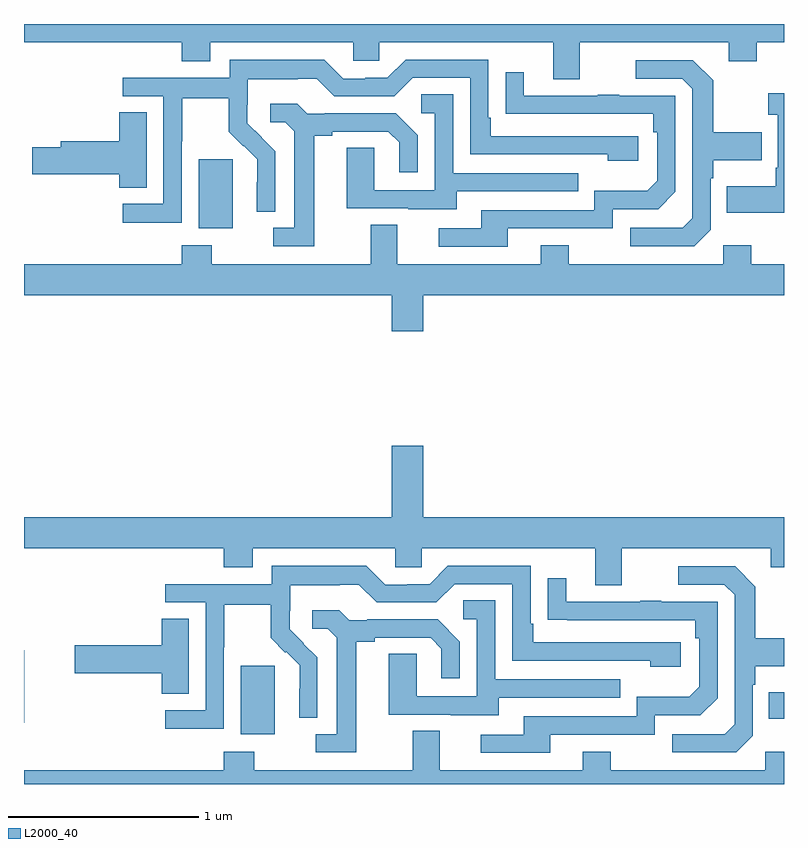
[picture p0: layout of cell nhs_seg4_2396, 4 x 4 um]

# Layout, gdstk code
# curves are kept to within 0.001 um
import gdstk
lib = gdstk.Library(unit=1e-6, precision=1e-09)
def R(c, l, rs):  # rectangles x0, y0, x1, y1
    for r in rs: c.add(gdstk.rectangle(r[:2], r[2:], *l))
def P(c, l, *ps):  # polygons
    for p in ps: c.add(gdstk.Polygon(p, *l))
L2000_40 = (2000, 40)

nhs_seg4_2396 = lib.new_cell('nhs_seg4_2396')
R(nhs_seg4_2396, L2000_40, [(236.141,809.162,236.32,809.523), (235,809.223,235.001,809.604), (238.921,809.243,239,809.383), (235.919,811.826,236.098,812.187)])
P(nhs_seg4_2396, L2000_40, [(237.925,812.804),(238.709,812.804),(238.709,812.705),(238.857,812.705),(238.857,812.804),(239,812.804),(239,812.9),(235,812.9),(235,812.804),(235.829,812.804),(235.829,812.705),(235.981,812.705),(235.981,812.804),(236.733,812.804),(236.733,812.706),(236.871,812.706),(236.871,812.804),(237.785,812.804),(237.785,812.61),(237.925,812.61)],
  [(235.83,812.284),(235.833,812.284),(235.833,812.508),(236.077,812.508),(236.077,812.333),(236.154,812.256),(236.157,812.259),(236.228,812.189),(236.228,812.066),(236.226,812.066),(236.226,811.912),(236.322,811.912),(236.322,812.23),(236.176,812.378),(236.176,812.475),(236.178,812.475),(236.178,812.609),(236.441,812.609),(236.441,812.613),(236.541,812.613),(236.634,812.52),(236.949,812.52),(237.045,812.616),(237.348,812.616),(237.348,812.214),(238.073,812.214),(238.073,812.18),(238.234,812.18),(238.234,812.31),(237.457,812.31),(237.457,812.407),(237.444,812.407),(237.444,812.712),(237.009,812.712),(236.913,812.616),(236.795,812.616),(236.795,812.613),(236.679,812.613),(236.579,812.713),(236.082,812.713),(236.082,812.616),(235.521,812.616),(235.521,812.52),(235.734,812.52),(235.734,811.953),(235.521,811.953),(235.521,811.855),(235.83,811.855)],
  [(238.614,811.818),(238.614,812.087),(238.627,812.087),(238.627,812.183),(238.883,812.183),(238.883,812.331),(238.627,812.331),(238.627,812.603),(238.521,812.709),(238.221,812.709),(238.221,812.613),(238.464,812.613),(238.518,812.559),(238.518,811.878),(238.467,811.827),(238.191,811.827),(238.191,811.731),(238.527,811.731)],
  [(237.547,811.824),(238.098,811.824),(238.098,811.926),(238.338,811.926),(238.428,812.016),(238.428,812.523),(238.133,812.523),(238.133,812.528),(238.021,812.528),(238.021,812.523),(237.631,812.523),(237.631,812.647),(237.535,812.647),(237.535,812.428),(238.312,812.427),(238.312,812.33),(238.332,812.33),(238.332,812.076),(238.279,812.023),(238.002,812.023),(238.002,811.92),(237.407,811.92),(237.407,811.824),(237.183,811.824),(237.183,811.728),(237.547,811.728)],
  [(239,812.536),(238.917,812.536),(238.917,812.423),(238.968,812.423),(238.968,812.143),(238.956,812.143),(238.956,812.047),(238.699,812.047),(238.699,811.907),(239,811.907)],
  [(237.277,812.019),(237.917,812.019),(237.917,812.115),(237.258,812.115),(237.258,812.531),(237.09,812.531),(237.09,812.43),(237.162,812.43),(237.162,812.025),(236.844,812.025),(236.844,812.249),(236.699,812.249),(236.699,811.929),(237.023,811.929),(237.023,811.925),(237.277,811.925)],
  [(236.527,812.312),(236.623,812.312),(236.623,812.334),(236.918,812.334),(236.975,812.277),(236.975,812.121),(237.072,812.121),(237.072,812.314),(236.956,812.43),(236.584,812.43),(236.584,812.427),(236.49,812.427),(236.438,812.479),(236.295,812.479),(236.295,812.382),(236.376,812.382),(236.423,812.335),(236.423,811.827),(236.313,811.827),(236.313,811.731),(236.527,811.731)],
  [(235.645,812.435),(235.502,812.435),(235.502,812.282),(235.193,812.282),(235.193,812.252),(235.044,812.252),(235.044,812.11),(235.502,812.11),(235.502,812.038),(235.645,812.038)],
  [(237.1,811.472),(239,811.472),(239,811.636),(238.827,811.636),(238.827,811.735),(238.68,811.735),(238.68,811.636),(237.867,811.636),(237.867,811.735),(237.719,811.735),(237.719,811.636),(236.965,811.636),(236.965,811.844),(236.825,811.844),(236.825,811.636),(235.989,811.636),(235.989,811.735),(235.829,811.735),(235.829,811.636),(235,811.636),(235,811.472),(236.936,811.472),(236.936,811.284),(237.1,811.284)],
  [(238.147,810.14),(238.931,810.14),(238.931,810.041),(239,810.041),(239,810.304),(237.1,810.304),(237.1,810.679),(236.936,810.679),(236.936,810.304),(235,810.304),(235,810.14),(236.051,810.14),(236.051,810.041),(236.203,810.041),(236.203,810.14),(236.955,810.14),(236.955,810.042),(237.093,810.042),(237.093,810.14),(238.007,810.14),(238.007,809.946),(238.147,809.946)],
  [(236.052,809.62),(236.055,809.62),(236.055,809.844),(236.299,809.844),(236.299,809.669),(236.376,809.592),(236.379,809.595),(236.45,809.525),(236.45,809.402),(236.448,809.402),(236.448,809.248),(236.544,809.248),(236.544,809.566),(236.398,809.714),(236.398,809.811),(236.4,809.811),(236.4,809.945),(236.663,809.945),(236.663,809.949),(236.763,809.949),(236.856,809.856),(237.171,809.856),(237.267,809.952),(237.57,809.952),(237.57,809.55),(238.295,809.55),(238.295,809.516),(238.456,809.516),(238.456,809.646),(237.679,809.646),(237.679,809.743),(237.666,809.743),(237.666,810.048),(237.231,810.048),(237.135,809.952),(237.017,809.952),(237.017,809.949),(236.901,809.949),(236.801,810.049),(236.304,810.049),(236.304,809.952),(235.743,809.952),(235.743,809.856),(235.956,809.856),(235.956,809.289),(235.743,809.289),(235.743,809.191),(236.052,809.191)],
  [(238.836,809.154),(238.836,809.423),(238.849,809.423),(238.849,809.519),(239,809.519),(239,809.667),(238.849,809.667),(238.849,809.939),(238.743,810.045),(238.443,810.045),(238.443,809.949),(238.686,809.949),(238.74,809.895),(238.74,809.214),(238.689,809.163),(238.413,809.163),(238.413,809.067),(238.749,809.067)],
  [(237.769,809.16),(238.32,809.16),(238.32,809.262),(238.56,809.262),(238.65,809.352),(238.65,809.859),(238.355,809.859),(238.355,809.864),(238.243,809.864),(238.243,809.859),(237.853,809.859),(237.853,809.983),(237.757,809.983),(237.757,809.764),(238.534,809.763),(238.534,809.666),(238.554,809.666),(238.554,809.412),(238.501,809.359),(238.224,809.359),(238.224,809.256),(237.629,809.256),(237.629,809.16),(237.405,809.16),(237.405,809.064),(237.769,809.064)],
  [(237.499,809.355),(238.139,809.355),(238.139,809.451),(237.48,809.451),(237.48,809.867),(237.312,809.867),(237.312,809.766),(237.384,809.766),(237.384,809.361),(237.066,809.361),(237.066,809.585),(236.921,809.585),(236.921,809.265),(237.245,809.265),(237.245,809.261),(237.499,809.261)],
  [(236.749,809.648),(236.845,809.648),(236.845,809.67),(237.14,809.67),(237.197,809.613),(237.197,809.457),(237.294,809.457),(237.294,809.65),(237.178,809.766),(236.806,809.766),(236.806,809.763),(236.712,809.763),(236.66,809.815),(236.517,809.815),(236.517,809.718),(236.598,809.718),(236.645,809.671),(236.645,809.163),(236.535,809.163),(236.535,809.067),(236.749,809.067)],
  [(235.867,809.771),(235.724,809.771),(235.724,809.63),(235.266,809.63),(235.266,809.483),(235.724,809.483),(235.724,809.374),(235.867,809.374)],
  [(239,809.071),(238.902,809.071),(238.902,808.972),(238.089,808.972),(238.089,809.071),(237.941,809.071),(237.941,808.972),(237.187,808.972),(237.187,809.18),(237.047,809.18),(237.047,808.972),(236.211,808.972),(236.211,809.071),(236.051,809.071),(236.051,808.972),(235,808.972),(235,808.9),(239,808.9)])

lib.write_gds('nhs_seg4_2396.gds')
